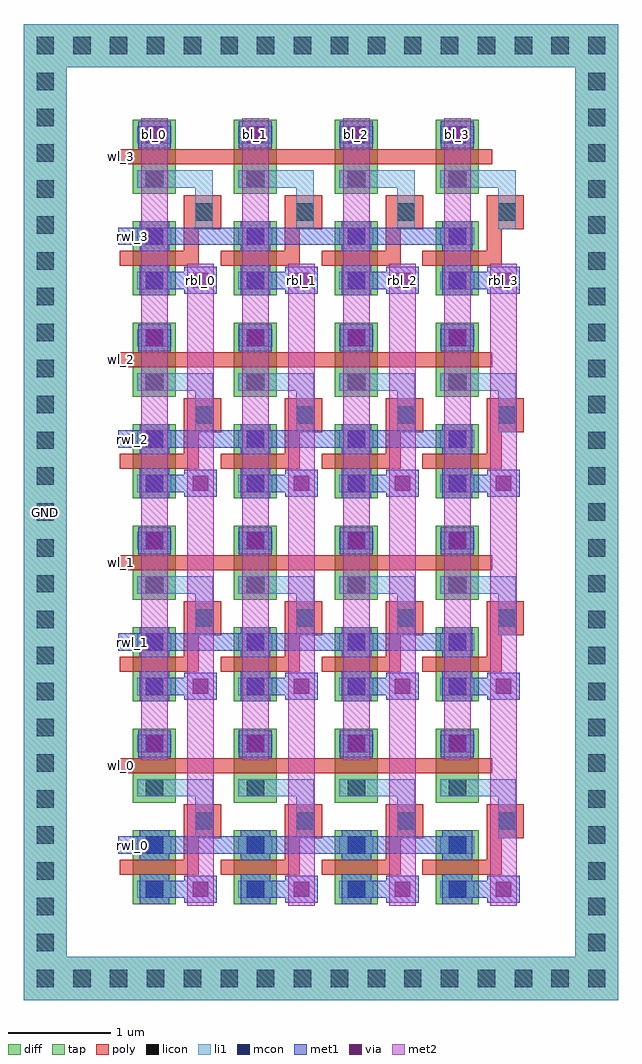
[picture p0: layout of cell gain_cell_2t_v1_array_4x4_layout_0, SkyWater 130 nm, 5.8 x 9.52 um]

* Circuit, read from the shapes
.subckt gain_cell_2t_v1_array_4x4_layout_0 GND bl_0 bl_1 bl_2 bl_3 rbl_0 rbl_1 rbl_2 rbl_3 rwl_0 rwl_1 rwl_2 rwl_3 wl_0 wl_1 wl_2 wl_3
XM1 rwl_0 n1 rbl_0 GND sky130_fd_pr__nfet_01v8 w=0.42 l=0.15
XM2 bl_0 wl_0 n1 GND sky130_fd_pr__nfet_01v8 w=0.42 l=0.15
XM3 rwl_1 n2 rbl_0 GND sky130_fd_pr__nfet_01v8 w=0.42 l=0.15
XM4 bl_0 wl_1 n2 GND sky130_fd_pr__nfet_01v8 w=0.42 l=0.15
XM5 rwl_2 n3 rbl_0 GND sky130_fd_pr__nfet_01v8 w=0.42 l=0.15
XM6 bl_0 wl_2 n3 GND sky130_fd_pr__nfet_01v8 w=0.42 l=0.15
XM7 rwl_3 n4 rbl_0 GND sky130_fd_pr__nfet_01v8 w=0.42 l=0.15
XM8 bl_0 wl_3 n4 GND sky130_fd_pr__nfet_01v8 w=0.42 l=0.15
XM9 rwl_0 n5 rbl_1 GND sky130_fd_pr__nfet_01v8 w=0.42 l=0.15
XM10 bl_1 wl_0 n5 GND sky130_fd_pr__nfet_01v8 w=0.42 l=0.15
XM11 rwl_1 n6 rbl_1 GND sky130_fd_pr__nfet_01v8 w=0.42 l=0.15
XM12 bl_1 wl_1 n6 GND sky130_fd_pr__nfet_01v8 w=0.42 l=0.15
XM13 rwl_2 n7 rbl_1 GND sky130_fd_pr__nfet_01v8 w=0.42 l=0.15
XM14 bl_1 wl_2 n7 GND sky130_fd_pr__nfet_01v8 w=0.42 l=0.15
XM15 rwl_3 n8 rbl_1 GND sky130_fd_pr__nfet_01v8 w=0.42 l=0.15
XM16 bl_1 wl_3 n8 GND sky130_fd_pr__nfet_01v8 w=0.42 l=0.15
XM17 rwl_0 n9 rbl_2 GND sky130_fd_pr__nfet_01v8 w=0.42 l=0.15
XM18 bl_2 wl_0 n9 GND sky130_fd_pr__nfet_01v8 w=0.42 l=0.15
XM19 rwl_1 n10 rbl_2 GND sky130_fd_pr__nfet_01v8 w=0.42 l=0.15
XM20 bl_2 wl_1 n10 GND sky130_fd_pr__nfet_01v8 w=0.42 l=0.15
XM21 rwl_2 n11 rbl_2 GND sky130_fd_pr__nfet_01v8 w=0.42 l=0.15
XM22 bl_2 wl_2 n11 GND sky130_fd_pr__nfet_01v8 w=0.42 l=0.15
XM23 rwl_3 n12 rbl_2 GND sky130_fd_pr__nfet_01v8 w=0.42 l=0.15
XM24 bl_2 wl_3 n12 GND sky130_fd_pr__nfet_01v8 w=0.42 l=0.15
XM25 rwl_0 n13 rbl_3 GND sky130_fd_pr__nfet_01v8 w=0.42 l=0.15
XM26 bl_3 wl_0 n13 GND sky130_fd_pr__nfet_01v8 w=0.42 l=0.15
XM27 rwl_1 n14 rbl_3 GND sky130_fd_pr__nfet_01v8 w=0.42 l=0.15
XM28 bl_3 wl_1 n14 GND sky130_fd_pr__nfet_01v8 w=0.42 l=0.15
XM29 rwl_2 n15 rbl_3 GND sky130_fd_pr__nfet_01v8 w=0.42 l=0.15
XM30 bl_3 wl_2 n15 GND sky130_fd_pr__nfet_01v8 w=0.42 l=0.15
XM31 rwl_3 n16 rbl_3 GND sky130_fd_pr__nfet_01v8 w=0.42 l=0.15
XM32 bl_3 wl_3 n16 GND sky130_fd_pr__nfet_01v8 w=0.42 l=0.15
.ends

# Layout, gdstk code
import gdstk
lib = gdstk.Library(unit=1e-6, precision=1e-09)
def R(c, l, rs):  # rectangles x0, y0, x1, y1
    for r in rs: c.add(gdstk.rectangle(r[:2], r[2:], *l))
def A(c, l, x, y, w, h, nx, ny, dx, dy):  # array of equal rectangles
    R(c, l, [(x+i*dx, y+j*dy, x+i*dx+w, y+j*dy+h) for i in range(nx) for j in range(ny)])
diff = (65, 20)
tap = (65, 44)
poly = (66, 20)
licon = (66, 44)
li1 = (67, 20)
mcon = (67, 44)
met1 = (68, 20)
via = (68, 44)
met2 = (69, 20)

gain_cell_2t_v1_array_4x = lib.new_cell('gain_cell_2t_v1_array_4x4_layout_0')
A(gain_cell_2t_v1_array_4x, diff, 0, 0, 0.42, 0.72, 4, 8, 0.985, 0.99)
R(gain_cell_2t_v1_array_4x, tap, [(-1.065,-0.935,4.735,-0.515), (-1.065,-0.515,-0.645,8.165), (4.315,-0.515,4.735,8.165), (-1.065,8.165,4.735,8.585)])
A(gain_cell_2t_v1_array_4x, poly, -0.13, 0.285, 0.775, 0.15, 4, 4, 0.985, 1.98)
A(gain_cell_2t_v1_array_4x, poly, 0.495, 0.285, 0.15, 0.36, 4, 4, 0.985, 1.98)
A(gain_cell_2t_v1_array_4x, poly, 0.495, 0.645, 0.365, 0.33, 4, 4, 0.985, 1.98)
A(gain_cell_2t_v1_array_4x, poly, -0.13, 1.275, 3.635, 0.15, 1, 4, 0, 1.98)
A(gain_cell_2t_v1_array_4x, licon, -0.94, -0.81, 0.17, 0.17, 1, 27, 0, 0.35)
A(gain_cell_2t_v1_array_4x, licon, -0.225, -0.81, 0.17, 0.17, 4, 2, 0.36, 9.1)
A(gain_cell_2t_v1_array_4x, licon, 1.21, -0.81, 0.17, 0.17, 4, 2, 0.36, 9.1)
A(gain_cell_2t_v1_array_4x, licon, 2.645, -0.81, 0.17, 0.17, 4, 2, 0.36, 9.1)
A(gain_cell_2t_v1_array_4x, licon, 4.44, -0.81, 0.17, 0.17, 1, 27, 0, 0.35)
A(gain_cell_2t_v1_array_4x, licon, 0.125, 0.06, 0.17, 0.17, 4, 2, 0.985, 0.43)
A(gain_cell_2t_v1_array_4x, licon, 0.61, 0.725, 0.17, 0.17, 4, 4, 0.985, 1.98)
A(gain_cell_2t_v1_array_4x, licon, 0.125, 1.05, 0.17, 0.17, 4, 2, 0.985, 0.43)
A(gain_cell_2t_v1_array_4x, licon, 0.125, 2.04, 0.17, 0.17, 4, 2, 0.985, 0.43)
A(gain_cell_2t_v1_array_4x, licon, 0.125, 3.03, 0.17, 0.17, 4, 2, 0.985, 0.43)
A(gain_cell_2t_v1_array_4x, licon, 0.125, 4.02, 0.17, 0.17, 4, 2, 0.985, 0.43)
A(gain_cell_2t_v1_array_4x, licon, 0.125, 5.01, 0.17, 0.17, 4, 2, 0.985, 0.43)
A(gain_cell_2t_v1_array_4x, licon, 0.125, 6, 0.17, 0.17, 4, 2, 0.985, 0.43)
A(gain_cell_2t_v1_array_4x, licon, 0.125, 6.99, 0.17, 0.17, 4, 2, 0.985, 0.43)
R(gain_cell_2t_v1_array_4x, licon, [(-0.94,-0.81,-0.77,-0.64), (-0.58,-0.81,-0.41,-0.64), (4.08,-0.81,4.25,-0.64), (4.44,-0.81,4.61,-0.64), (-0.94,8.29,-0.77,8.46), (-0.58,8.29,-0.41,8.46), (4.08,8.29,4.25,8.46), (4.44,8.29,4.61,8.46)])
A(gain_cell_2t_v1_array_4x, li1, 0.045, 0.06, 0.33, 0.17, 4, 2, 0.985, 0.43)
A(gain_cell_2t_v1_array_4x, li1, 0.61, 0.645, 0.17, 0.33, 4, 4, 0.985, 1.98)
A(gain_cell_2t_v1_array_4x, li1, 0.61, 0.81, 0.17, 0.41, 4, 4, 0.985, 1.98)
A(gain_cell_2t_v1_array_4x, li1, 0.045, 1.05, 0.33, 0.17, 4, 2, 0.985, 0.43)
A(gain_cell_2t_v1_array_4x, li1, 0.045, 1.05, 0.735, 0.17, 4, 4, 0.985, 1.98)
A(gain_cell_2t_v1_array_4x, li1, 0.045, 2.04, 0.33, 0.17, 4, 2, 0.985, 0.43)
A(gain_cell_2t_v1_array_4x, li1, 0.045, 3.03, 0.33, 0.17, 4, 2, 0.985, 0.43)
A(gain_cell_2t_v1_array_4x, li1, 0.045, 4.02, 0.33, 0.17, 4, 2, 0.985, 0.43)
A(gain_cell_2t_v1_array_4x, li1, 0.045, 5.01, 0.33, 0.17, 4, 2, 0.985, 0.43)
A(gain_cell_2t_v1_array_4x, li1, 0.045, 6, 0.33, 0.17, 4, 2, 0.985, 0.43)
A(gain_cell_2t_v1_array_4x, li1, 0.045, 6.99, 0.33, 0.17, 4, 2, 0.985, 0.43)
R(gain_cell_2t_v1_array_4x, li1, [(-1.065,-0.935,4.735,-0.515), (-1.065,-0.515,-0.645,8.165), (4.315,-0.515,4.735,8.165), (-1.065,8.165,4.735,8.585)])
A(gain_cell_2t_v1_array_4x, mcon, 0.125, 0.06, 0.17, 0.17, 4, 2, 0.985, 0.43)
A(gain_cell_2t_v1_array_4x, mcon, 0.125, 1.48, 0.17, 0.17, 4, 2, 0.985, 0.56)
A(gain_cell_2t_v1_array_4x, mcon, 0.125, 2.47, 0.17, 0.17, 4, 2, 0.985, 0.99)
A(gain_cell_2t_v1_array_4x, mcon, 0.125, 4.02, 0.17, 0.17, 4, 2, 0.985, 0.43)
A(gain_cell_2t_v1_array_4x, mcon, 0.125, 5.44, 0.17, 0.17, 4, 2, 0.985, 0.56)
A(gain_cell_2t_v1_array_4x, mcon, 0.125, 6.43, 0.17, 0.17, 4, 2, 0.985, 0.99)
A(gain_cell_2t_v1_array_4x, met1, 0.065, 0, 0.29, 0.29, 4, 2, 0.985, 0.43)
A(gain_cell_2t_v1_array_4x, met1, 0.5, 0.015, 0.32, 0.26, 4, 4, 0.985, 1.98)
A(gain_cell_2t_v1_array_4x, met1, 0.065, 0.06, 0.74, 0.17, 4, 4, 0.985, 1.98)
A(gain_cell_2t_v1_array_4x, met1, -0.145, 0.49, 3.455, 0.17, 1, 4, 0, 1.98)
A(gain_cell_2t_v1_array_4x, met1, 0.05, 1.435, 0.32, 0.26, 4, 4, 0.985, 1.98)
A(gain_cell_2t_v1_array_4x, met1, 0.065, 1.98, 0.29, 0.29, 4, 2, 0.985, 0.43)
A(gain_cell_2t_v1_array_4x, met1, 0.065, 3.96, 0.29, 0.29, 4, 2, 0.985, 0.43)
A(gain_cell_2t_v1_array_4x, met1, 0.065, 5.94, 0.29, 0.29, 4, 2, 0.985, 0.43)
A(gain_cell_2t_v1_array_4x, via, 0.585, 0.07, 0.15, 0.15, 4, 4, 0.985, 1.98)
A(gain_cell_2t_v1_array_4x, via, 0.135, 1.49, 0.15, 0.15, 4, 4, 0.985, 1.98)
A(gain_cell_2t_v1_array_4x, met2, 0.53, -0.015, 0.26, 6.26, 4, 1, 0.985, 0)
A(gain_cell_2t_v1_array_4x, met2, 0.08, 1.405, 0.26, 6.26, 4, 1, 0.985, 0)
gain_cell_2t_v1_array_4x.add(gdstk.Label('wl_0', (-0.11,1.35), layer=66, texttype=5))
gain_cell_2t_v1_array_4x.add(gdstk.Label('wl_1', (-0.11,3.33), layer=66, texttype=5))
gain_cell_2t_v1_array_4x.add(gdstk.Label('wl_2', (-0.11,5.31), layer=66, texttype=5))
gain_cell_2t_v1_array_4x.add(gdstk.Label('wl_3', (-0.11,7.29), layer=66, texttype=5))
gain_cell_2t_v1_array_4x.add(gdstk.Label('GND', (-0.855,3.825), layer=67, texttype=5))
gain_cell_2t_v1_array_4x.add(gdstk.Label('rwl_0', (0,0.575), layer=68, texttype=5))
gain_cell_2t_v1_array_4x.add(gdstk.Label('rwl_1', (0,2.555), layer=68, texttype=5))
gain_cell_2t_v1_array_4x.add(gdstk.Label('rwl_2', (0,4.535), layer=68, texttype=5))
gain_cell_2t_v1_array_4x.add(gdstk.Label('rwl_3', (0,6.515), layer=68, texttype=5))
gain_cell_2t_v1_array_4x.add(gdstk.Label('bl_0', (0.21,7.505), layer=69, texttype=5))
gain_cell_2t_v1_array_4x.add(gdstk.Label('rbl_0', (0.66,6.085), layer=69, texttype=5))
gain_cell_2t_v1_array_4x.add(gdstk.Label('bl_1', (1.195,7.505), layer=69, texttype=5))
gain_cell_2t_v1_array_4x.add(gdstk.Label('rbl_1', (1.645,6.085), layer=69, texttype=5))
gain_cell_2t_v1_array_4x.add(gdstk.Label('bl_2', (2.18,7.505), layer=69, texttype=5))
gain_cell_2t_v1_array_4x.add(gdstk.Label('rbl_2', (2.63,6.085), layer=69, texttype=5))
gain_cell_2t_v1_array_4x.add(gdstk.Label('bl_3', (3.165,7.505), layer=69, texttype=5))
gain_cell_2t_v1_array_4x.add(gdstk.Label('rbl_3', (3.615,6.085), layer=69, texttype=5))

lib.write_gds('gain_cell_2t_v1_array_4x4_layout_0.gds')
